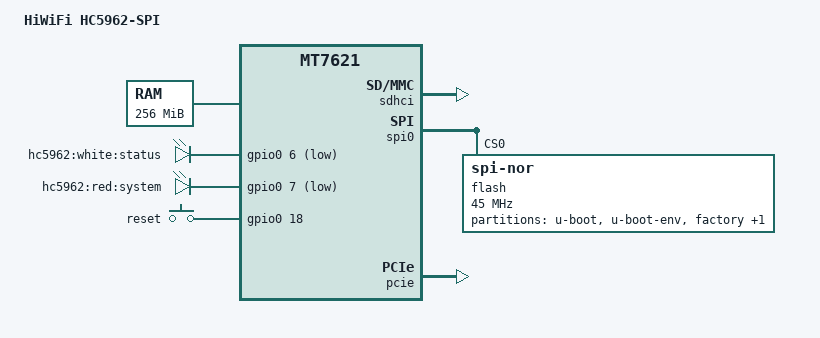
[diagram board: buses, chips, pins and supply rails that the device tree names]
/dts-v1/;

#include "mt7621.dtsi"

#include <dt-bindings/gpio/gpio.h>
#include <dt-bindings/input/input.h>

/ {
	compatible = "hiwifi,hc5962-spi", "mediatek,mt7621-soc";
	model = "HiWiFi HC5962-SPI";

	aliases {
		led-boot = &led_system;
		led-failsafe = &led_system;
		led-running = &led_status;
		led-upgrade = &led_status;
	};
	
	memory@0 {
		device_type = "memory";
		reg = <0x0 0x10000000>;
	};

	chosen {
		bootargs = "console=ttyS0,115200";
	};

	leds {
		compatible = "gpio-leds";

		led_status: status {
			label = "hc5962:white:status";
			gpios = <&gpio0 6 GPIO_ACTIVE_LOW>;
		};

		led_system: system {
			label = "hc5962:red:system";
			gpios = <&gpio0 7 GPIO_ACTIVE_LOW>;
			panic-indicator;
		};
	};

	keys {
		compatible = "gpio-keys-polled";
		poll-interval = <20>;

		reset {
			label = "reset";
			gpios = <&gpio0 18 GPIO_ACTIVE_HIGH>;
			linux,code = <KEY_RESTART>;
		};
	};
};

&sdhci {
	status = "okay";
};

&spi0 {
	status = "okay";

	flash@0 {
		compatible = "jedec,spi-nor";
		reg = <0>;
		spi-max-frequency = <45000000>;
		broken-flash-reset;

		partitions {
			compatible = "fixed-partitions";
			#address-cells = <1>;
			#size-cells = <1>;

			partition@0 {
				label = "u-boot";
				reg = <0x0 0x30000>;
				read-only;
			};

			partition@30000 {
				label = "u-boot-env";
				reg = <0x30000 0x10000>;
				read-only;
			};

			factory: partition@40000 {
				label = "factory";
				reg = <0x40000 0x10000>;
				read-only;
			};

			partition@50000 {
				compatible = "denx,uimage";
				label = "firmware";
				reg = <0x50000 0xfb0000>;
			};

		};
	};
};

&pcie {
	status = "okay";
};

&pcie0 {
	mt76@0,0 {
		reg = <0x0000 0 0 0 0>;
		mediatek,mtd-eeprom = <&factory 0x0000>;
		ieee80211-freq-limit = <2400000 2500000>;
	};
};

&pcie1 {
	mt76@0,0 {
		reg = <0x0000 0 0 0 0>;
		mediatek,mtd-eeprom = <&factory 0x8000>;
		ieee80211-freq-limit = <5000000 6000000>;
	};
};

&ethernet {
	mtd-mac-address = <&factory 0xe000>;
};

&pinctrl {
	state_default: pinctrl0 {
		gpio {
			ralink,group = "uart3", "jtag";
			ralink,function = "gpio";
		};
	};
};
